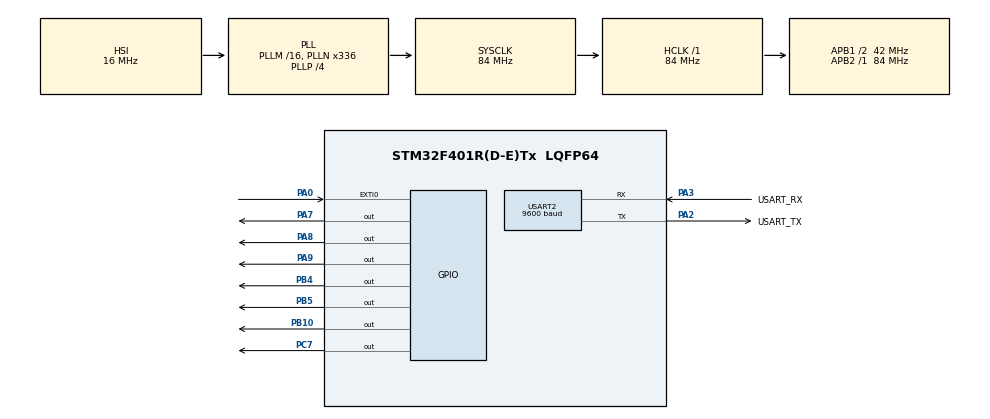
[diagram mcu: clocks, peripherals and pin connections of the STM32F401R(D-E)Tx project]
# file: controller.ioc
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Mcu.Family=STM32F4
Mcu.Name=STM32F401R(D-E)Tx
Mcu.Package=LQFP64
NVIC.EXTI0_IRQn=true\:0\:0\:false\:false\:true\:true\:true\:true
NVIC.PriorityGroup=NVIC_PRIORITYGROUP_0
NVIC.USART2_IRQn=true\:0\:0\:false\:false\:true\:true\:true\:true
PA0-WKUP.GPIO_ModeDefaultEXTI=GPIO_MODE_IT_FALLING
PA0-WKUP.GPIO_PuPd=GPIO_PULLUP
PA0-WKUP.Signal=GPXTI0
PA13.GPIO_Label=TMS
PA13.Mode=Serial_Wire
PA13.Signal=SYS_JTMS-SWDIO
PA14.GPIO_Label=TCK
PA14.Mode=Serial_Wire
PA14.Signal=SYS_JTCK-SWCLK
PA2.GPIO_Label=USART_TX
PA2.GPIO_Mode=GPIO_MODE_AF_PP
PA2.GPIO_PuPd=GPIO_NOPULL
PA2.GPIO_Speed=GPIO_SPEED_FREQ_LOW
PA2.Mode=Asynchronous
PA2.Signal=USART2_TX
PA3.GPIO_Label=USART_RX
PA3.GPIO_Mode=GPIO_MODE_AF_PP
PA3.GPIO_PuPd=GPIO_NOPULL
PA3.GPIO_Speed=GPIO_SPEED_FREQ_LOW
PA3.Mode=Asynchronous
PA3.Signal=USART2_RX
PA7.Signal=GPIO_Output
PA8.Signal=GPIO_Output
PA9.Signal=GPIO_Output
PB10.Signal=GPIO_Output
PB3.GPIO_Label=SWO
PB3.Signal=SYS_JTDO-SWO
PB4.Signal=GPIO_Output
PB5.Signal=GPIO_Output
PC14-OSC32_IN.Mode=LSE-External-Oscillator
PC14-OSC32_IN.Signal=RCC_OSC32_IN
PC15-OSC32_OUT.Mode=LSE-External-Oscillator
PC15-OSC32_OUT.Signal=RCC_OSC32_OUT
PC7.Signal=GPIO_Output
PH0\ -\ OSC_IN.Mode=HSE-External-Clock-Source
PH0\ -\ OSC_IN.Signal=RCC_OSC_IN
PH1\ -\ OSC_OUT.Mode=HSE-External-Clock-Source
PH1\ -\ OSC_OUT.Signal=RCC_OSC_OUT
ProjectManager.HeapSize=0x200
ProjectManager.StackSize=0x400
ProjectManager.TargetToolchain=MDK-ARM V5.32
RCC.48MHZClocksFreq_Value=48000000
RCC.AHBFreq_Value=84000000
RCC.APB1CLKDivider=RCC_HCLK_DIV2
RCC.APB1Freq_Value=42000000
RCC.APB1TimFreq_Value=84000000
RCC.APB2Freq_Value=84000000
RCC.APB2TimFreq_Value=84000000
RCC.CortexFreq_Value=84000000
RCC.HCLKFreq_Value=84000000
RCC.HSE_VALUE=8000000
RCC.HSI_VALUE=16000000
RCC.PLLN=336
RCC.PLLP=RCC_PLLP_DIV4
RCC.PLLQ=7
RCC.SYSCLKFreq_VALUE=84000000
RCC.SYSCLKSource=RCC_SYSCLKSOURCE_PLLCLK
RCC.VCOOutputFreq_Value=336000000
USART2.BaudRate=9600
USART2.VirtualMode=VM_ASYNC
board=NUCLEO-F401RE

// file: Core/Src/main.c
/* USER CODE BEGIN Header */
/**
  ******************************************************************************
  * @file           : main.c
  * @brief          : Main program body
  ******************************************************************************
  * @attention
  *
  * Copyright (c) 2023 STMicroelectronics.
  * All rights reserved.
  *
  * This software is licensed under terms that can be found in the LICENSE file
  * in the root directory of this software component.
  * If no LICENSE file comes with this software, it is provided AS-IS.
  *
  ******************************************************************************
  */
/* USER CODE END Header */
#include "main.h"

/* USER CODE BEGIN Includes */

#include "lcd.h"
#include <stdio.h>

/* USER CODE END Includes */

/* USER CODE BEGIN PD */
#define Start 'S'
#define Jump 'J'
#define Game_Over 'O'
#define Play 'P'
/* USER CODE END PD */

UART_HandleTypeDef huart2;

/* USER CODE BEGIN PV */
uint8_t Rx_data[10];
uint8_t write_buffer[10];
volatile int write_buffer_tail = 0;

volatile int score = 0;
volatile int is_over = 0;
volatile int is_started = 0;
volatile int display = 0;

/* USER CODE END PV */

void SystemClock_Config(void);
static void MX_GPIO_Init(void);
static void MX_USART2_UART_Init(void);
/* USER CODE BEGIN PFP */

void display_score();
void itoa(int num, char* str);
int intlen(int num);
void string_to_buffer(char* str);
void char_to_buffer(char c);

/* USER CODE END PFP */

/* USER CODE BEGIN 0 */
 void HAL_UART_RxCpltCallback(UART_HandleTypeDef *huart)
{
	if(Rx_data[0] == 'O')
		is_over = 1;
	else if (Rx_data[0] == 'P')
		is_over = 0;
  is_started = (is_over == 0);

  if (is_over == 0)
    score++;

	display = 1;
}

void HAL_UART_TxCpltCallback(UART_HandleTypeDef *huart)
{
  write_buffer_tail = 0;
}

void HAL_GPIO_EXTI_Callback(uint16_t GPIO_Pin)
{
  if (GPIO_Pin == GPIO_PIN_0 && is_started)
  {
    char_to_buffer(Jump);
    HAL_UART_Transmit_IT(&huart2, write_buffer, 1);
  }
}

void display_score()
{
  char score_str[10];
  itoa(score, score_str);

  LCD_ClearDisplay();
  LCD_GoToLine(1);
  LCD_String("Score: ");
  LCD_String(score_str);

  if (is_over)
  {
    LCD_GoToLine(2);
    LCD_String("Game Over");
  }
}

void itoa(int num, char* str)
{
  if (num == 0)
  {
    str[0] = '0';
    str[1] = '\0';
    return;
  }

  int i = intlen(num);
  str[i--] = '\0';

  while (num != 0)
  {
    int rem = num % 10;
    str[i--] = rem + '0';
    num = num/10;
  }
}

int intlen(int num)
{
  int len = 0;
  while (num != 0)
  {
    num = num/10;
    len++;
  }
  return len;
}

void char_to_buffer(char c)
{
  write_buffer[write_buffer_tail++] = (uint8_t) c;
}
/* USER CODE END 0 */

int main(void)
{

  /* MCU Configuration--------------------------------------------------------*/

  /* Reset of all peripherals, Initializes the Flash interface and the Systick. */
  HAL_Init();

  /* Configure the system clock */
  SystemClock_Config();

  /* Initialize all configured peripherals */
  MX_GPIO_Init();
  MX_USART2_UART_Init();
  /* USER CODE BEGIN 2 */
	HAL_UART_Receive_IT (&huart2, Rx_data, 1);

	initLCD();
	LCD_ClearDisplay();
	LCD_String("Welcome To");
  LCD_GoToLine(2);
  LCD_String("Flappy Shayan");

  /* USER CODE END 2 */

  /* Infinite loop */
  /* USER CODE BEGIN WHILE */
  while (1)
  {
		if (display)
		{
			display_score();
			HAL_UART_Receive_IT (&huart2, Rx_data, 1);
			//char_to_buffer('O');
			//HAL_UART_Transmit_IT(&huart2, write_buffer, 1);
			display = 0;
		}
    /* USER CODE END WHILE */

  }
}

void SystemClock_Config(void)
{
  RCC_OscInitTypeDef RCC_OscInitStruct = {0};
  RCC_ClkInitTypeDef RCC_ClkInitStruct = {0};

  /** Configure the main internal regulator output voltage
  */
  __HAL_RCC_PWR_CLK_ENABLE();
  __HAL_PWR_VOLTAGESCALING_CONFIG(PWR_REGULATOR_VOLTAGE_SCALE2);

  /** Initializes the RCC Oscillators according to the specified parameters
  * in the RCC_OscInitTypeDef structure.
  */
  RCC_OscInitStruct.OscillatorType = RCC_OSCILLATORTYPE_HSI;
  RCC_OscInitStruct.HSIState = RCC_HSI_ON;
  RCC_OscInitStruct.HSICalibrationValue = RCC_HSICALIBRATION_DEFAULT;
  RCC_OscInitStruct.PLL.PLLState = RCC_PLL_ON;
  RCC_OscInitStruct.PLL.PLLSource = RCC_PLLSOURCE_HSI;
  RCC_OscInitStruct.PLL.PLLM = 16;
  RCC_OscInitStruct.PLL.PLLN = 336;
  RCC_OscInitStruct.PLL.PLLP = RCC_PLLP_DIV4;
  RCC_OscInitStruct.PLL.PLLQ = 7;
  if (HAL_RCC_OscConfig(&RCC_OscInitStruct) != HAL_OK)
  {
    Error_Handler();
  }

  /** Initializes the CPU, AHB and APB buses clocks
  */
  RCC_ClkInitStruct.ClockType = RCC_CLOCKTYPE_HCLK|RCC_CLOCKTYPE_SYSCLK
                              |RCC_CLOCKTYPE_PCLK1|RCC_CLOCKTYPE_PCLK2;
  RCC_ClkInitStruct.SYSCLKSource = RCC_SYSCLKSOURCE_PLLCLK;
  RCC_ClkInitStruct.AHBCLKDivider = RCC_SYSCLK_DIV1;
  RCC_ClkInitStruct.APB1CLKDivider = RCC_HCLK_DIV2;
  RCC_ClkInitStruct.APB2CLKDivider = RCC_HCLK_DIV1;

  if (HAL_RCC_ClockConfig(&RCC_ClkInitStruct, FLASH_LATENCY_2) != HAL_OK)
  {
    Error_Handler();
  }
}

static void MX_USART2_UART_Init(void)
{

  huart2.Instance = USART2;
  huart2.Init.BaudRate = 9600;
  huart2.Init.WordLength = UART_WORDLENGTH_8B;
  huart2.Init.StopBits = UART_STOPBITS_1;
  huart2.Init.Parity = UART_PARITY_NONE;
  huart2.Init.Mode = UART_MODE_TX_RX;
  huart2.Init.HwFlowCtl = UART_HWCONTROL_NONE;
  huart2.Init.OverSampling = UART_OVERSAMPLING_16;
  if (HAL_UART_Init(&huart2) != HAL_OK)
  {
    Error_Handler();
  }

}

static void MX_GPIO_Init(void)
{
  GPIO_InitTypeDef GPIO_InitStruct = {0};

  /* GPIO Ports Clock Enable */
  __HAL_RCC_GPIOC_CLK_ENABLE();
  __HAL_RCC_GPIOH_CLK_ENABLE();
  __HAL_RCC_GPIOA_CLK_ENABLE();
  __HAL_RCC_GPIOB_CLK_ENABLE();

  /*Configure GPIO pin Output Level */
  HAL_GPIO_WritePin(GPIOA, GPIO_PIN_7|GPIO_PIN_8|GPIO_PIN_9, GPIO_PIN_RESET);

  /*Configure GPIO pin Output Level */
  HAL_GPIO_WritePin(GPIOB, GPIO_PIN_10|GPIO_PIN_4|GPIO_PIN_5, GPIO_PIN_RESET);

  /*Configure GPIO pin Output Level */
  HAL_GPIO_WritePin(GPIOC, GPIO_PIN_7, GPIO_PIN_RESET);

  /*Configure GPIO pin : PA0 */
  GPIO_InitStruct.Pin = GPIO_PIN_0;
  GPIO_InitStruct.Mode = GPIO_MODE_IT_FALLING;
  GPIO_InitStruct.Pull = GPIO_PULLUP;
  HAL_GPIO_Init(GPIOA, &GPIO_InitStruct);

  /*Configure GPIO pins : PA7 PA8 PA9 */
  GPIO_InitStruct.Pin = GPIO_PIN_7|GPIO_PIN_8|GPIO_PIN_9;
  GPIO_InitStruct.Mode = GPIO_MODE_OUTPUT_PP;
  GPIO_InitStruct.Pull = GPIO_NOPULL;
  GPIO_InitStruct.Speed = GPIO_SPEED_FREQ_LOW;
  HAL_GPIO_Init(GPIOA, &GPIO_InitStruct);

  /*Configure GPIO pins : PB10 PB4 PB5 */
  GPIO_InitStruct.Pin = GPIO_PIN_10|GPIO_PIN_4|GPIO_PIN_5;
  GPIO_InitStruct.Mode = GPIO_MODE_OUTPUT_PP;
  GPIO_InitStruct.Pull = GPIO_NOPULL;
  GPIO_InitStruct.Speed = GPIO_SPEED_FREQ_LOW;
  HAL_GPIO_Init(GPIOB, &GPIO_InitStruct);

  /*Configure GPIO pin : PC7 */
  GPIO_InitStruct.Pin = GPIO_PIN_7;
  GPIO_InitStruct.Mode = GPIO_MODE_OUTPUT_PP;
  GPIO_InitStruct.Pull = GPIO_NOPULL;
  GPIO_InitStruct.Speed = GPIO_SPEED_FREQ_LOW;
  HAL_GPIO_Init(GPIOC, &GPIO_InitStruct);

  /* EXTI interrupt init*/
  HAL_NVIC_SetPriority(EXTI0_IRQn, 0, 0);
  HAL_NVIC_EnableIRQ(EXTI0_IRQn);

}

void Error_Handler(void)
{
  __disable_irq();
  while (1)
  {
  }
}
